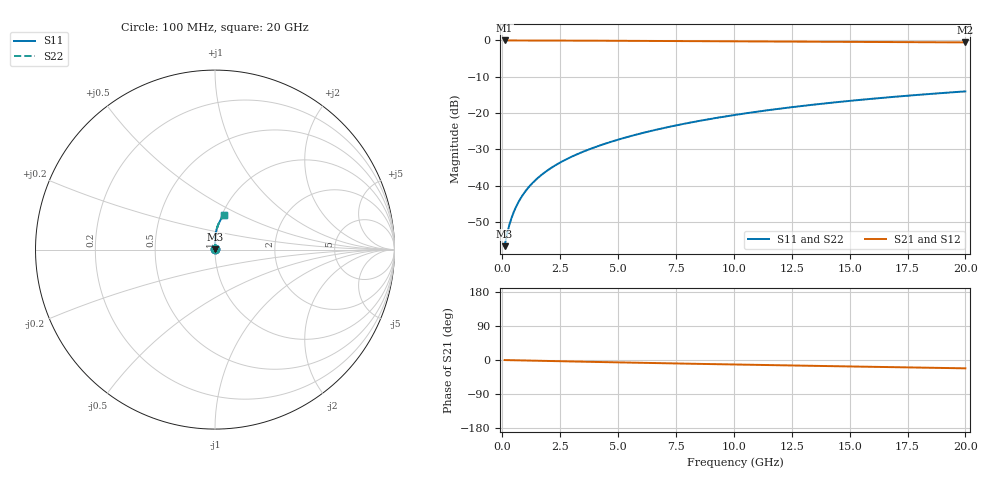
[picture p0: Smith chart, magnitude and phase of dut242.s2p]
! Touchstone file exported from HFSS 2024.1.0
!  File:  C:/UserFiles/LocalFiles/RDL_TSV_Batchsim/temp_RDL_top_242_1778688584.aedt
!  Generated:  12:11:54 AM May 14, 2026
!  Design:  RDL_top
!  Project:  temp_RDL_top_242_1778688584
!  Setup:  Setup1
!  Solution:  Sweep
! Variables:
!  dtsv = 10.80580581um
!  hbump = 3um
!  htsv = 86.41um
!  ldown = 100um
!  lrdl = 317.66um
!  p = 40
!  p1 = 45.81um
!  rhole = 1um
!  t = 450um
!  tdown = 3.915915916um
!  trdl = 4.91um
!  wdown = 15.38538539um
!  wrdl = 23.64um
# GHz S MA R 50.000000
! Terminal data exported
! Port[1] = Box2_T1
! Port[2] = Box2_T2
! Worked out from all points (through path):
!   200 points, 100 MHz to 20 GHz, reference 50 ohm
!   highest |S21| = -0.01 dB at 100 MHz (marker M1); lowest = -0.5 dB at 20 GHz (marker M2)
!   group delay of S21, straight-line fit = 3.01 ps
!   lowest |S11| = -56.6 dB at 100 MHz (marker M3), VSWR 1.00, Z = 50.1 + j0.0937 ohm
!   |S11| at or under -10 dB: start of sweep to end of sweep
!   |S22| runs from -56.6 to -14.0 dB; largest |S21 - S12| = 5.1e-15
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0.1  0.001476 39.3  0.9989 -0.1  0.9989 -0.1  0.001476 39.3
! Gamma 0 0 0 0
! Port Impedance 50 0 50 0
0.2  0.002143 55.4  0.9988 -0.3  0.9988 -0.3  0.002143 55.4
0.3  0.002862 64.1  0.9987 -0.4  0.9987 -0.4  0.002862 64.1
0.4  0.003615 69.5  0.9986 -0.5  0.9986 -0.5  0.003616 69.5
0.5  0.004392 73.2  0.9985 -0.7  0.9985 -0.7  0.004392 73.2
0.6  0.005183 75.8  0.9984 -0.8  0.9984 -0.8  0.005183 75.8
0.8  0.006791 79.3  0.9982 -1.1  0.9982 -1.1  0.006791 79.3
1.1  0.009236 82.3  0.9979 -1.4  0.9979 -1.4  0.009236 82.3
1.5  0.01253 84.5  0.9974 -2.0  0.9974 -2.0  0.01253 84.5
1.8  0.01502 85.6  0.997 -2.3  0.997 -2.3  0.01502 85.6
2.1  0.01752 86.4  0.9964 -2.7  0.9964 -2.7  0.01752 86.4
2.7  0.02259 87.6  0.9952 -3.5  0.9952 -3.5  0.02259 87.6
3.5  0.0295 88.7  0.9931 -4.5  0.9931 -4.5  0.0295 88.7
4.2  0.03574 89.3  0.9911 -5.3  0.9911 -5.3  0.03575 89.3
5  0.04312 89.6  0.9886 -6.3  0.9886 -6.3  0.04312 89.6
6.8  0.0606 89.6  0.9825 -8.4  0.9825 -8.4  0.0606 89.6
8.4  0.07698 88.7  0.977 -10.1  0.977 -10.1  0.07699 88.7
10.1  0.09492 87.3  0.9711 -12.0  0.9711 -12.0  0.09492 87.3
11.7  0.112 85.6  0.9657 -13.6  0.9657 -13.6  0.112 85.6
13.4  0.1303 83.7  0.9602 -15.4  0.9602 -15.4  0.1303 83.7
16.7  0.1652 79.8  0.9496 -18.7  0.9496 -18.7  0.1652 79.8
20  0.199 75.9  0.9391 -22.0  0.9391 -22.0  0.199 75.9
